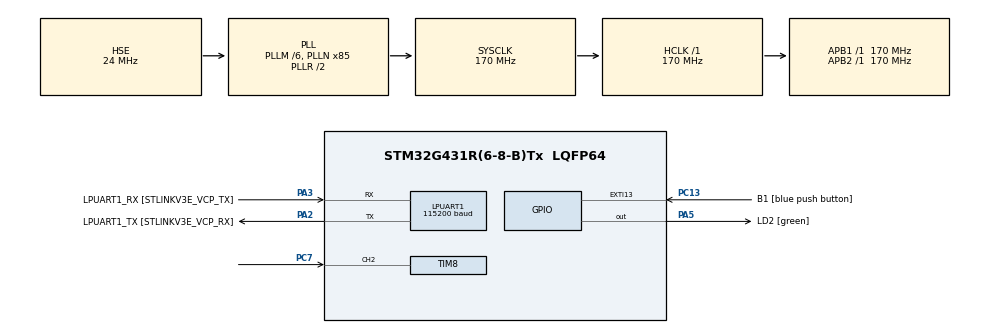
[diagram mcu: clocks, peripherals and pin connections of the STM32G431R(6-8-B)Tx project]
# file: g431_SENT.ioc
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LPUART1.BaudRate=115200
LPUART1.WordLength=UART_WORDLENGTH_8B
Mcu.Family=STM32G4
Mcu.Name=STM32G431R(6-8-B)Tx
Mcu.Package=LQFP64
NVIC.PriorityGroup=NVIC_PRIORITYGROUP_4
NVIC.TIM8_CC_IRQn=true\:0\:0\:false\:false\:true\:true\:true\:true
PA13.GPIO_Label=T_SWDIO
PA13.Mode=Serial_Wire
PA13.Signal=SYS_JTMS-SWDIO
PA14.GPIO_Label=T_SWCLK
PA14.Mode=Serial_Wire
PA14.Signal=SYS_JTCK-SWCLK
PA2.GPIO_Label=LPUART1_TX [STLINKV3E_VCP_RX]
PA2.Mode=Asynchronous
PA2.Signal=LPUART1_TX
PA3.GPIO_Label=LPUART1_RX [STLINKV3E_VCP_TX]
PA3.Mode=Asynchronous
PA3.Signal=LPUART1_RX
PA5.GPIO_Label=LD2 [green]
PA5.Signal=GPIO_Output
PB3.GPIO_Label=T_SWO
PB3.Signal=SYS_JTDO-SWO
PC10.Signal=TIM8_CH1N
PC13.GPIO_Label=B1 [blue push button]
PC13.Signal=GPXTI13
PC14-OSC32_IN.Mode=LSE-External-Oscillator
PC14-OSC32_IN.Signal=RCC_OSC32_IN
PC15-OSC32_OUT.Mode=LSE-External-Oscillator
PC15-OSC32_OUT.Signal=RCC_OSC32_OUT
PC7.Signal=S_TIM8_CH2
PF0-OSC_IN.Mode=HSE-External-Oscillator
PF0-OSC_IN.Signal=RCC_OSC_IN
PF1-OSC_OUT.Mode=HSE-External-Oscillator
PF1-OSC_OUT.Signal=RCC_OSC_OUT
ProjectManager.HeapSize=0x200
ProjectManager.StackSize=0x400
ProjectManager.TargetToolchain=STM32CubeIDE
RCC.ADC12Freq_Value=170000000
RCC.AHBFreq_Value=170000000
RCC.APB1Freq_Value=170000000
RCC.APB1TimFreq_Value=170000000
RCC.APB2Freq_Value=170000000
RCC.APB2TimFreq_Value=170000000
RCC.CortexFreq_Value=170000000
RCC.EXTERNAL_CLOCK_VALUE=12288000
RCC.HCLKFreq_Value=170000000
RCC.HSE_VALUE=24000000
RCC.HSI48_VALUE=48000000
RCC.HSI_VALUE=16000000
RCC.PLLM=RCC_PLLM_DIV6
RCC.PLLN=85
RCC.PLLSourceVirtual=RCC_PLLSOURCE_HSE
RCC.RTCClockSelection=RCC_RTCCLKSOURCE_LSE
RCC.SYSCLKFreq_VALUE=170000000
RCC.SYSCLKSource=RCC_SYSCLKSOURCE_PLLCLK
RCC.USBFreq_Value=170000000
RCC.VCOOutputFreq_Value=340000000
SH.S_TIM8_CH2.0=TIM8_CH2,Input_Capture2_from_TI2
TIM8.Channel-Input_Capture2_from_TI2=TIM_CHANNEL_2
TIM8.ICPolarity_CH2=TIM_INPUTCHANNELPOLARITY_FALLING
TIM8.Prescaler=1
TIM8.TIM_MasterOutputTrigger=TIM_TRGO_RESET
VP_SYS_VS_DBSignals.Mode=DisableDeadBatterySignals
VP_TIM8_VS_ClockSourceINT.Mode=Internal
board=NUCLEO-G431RB

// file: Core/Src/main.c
/* USER CODE BEGIN Header */
/**
  ******************************************************************************
  * @file           : main.c
  * @brief          : Main program body
  ******************************************************************************
  * @attention
  *
  * Copyright (c) 2022 STMicroelectronics.
  * All rights reserved.
  *
  * This software is licensed under terms that can be found in the LICENSE file
  * in the root directory of this software component.
  * If no LICENSE file comes with this software, it is provided AS-IS.
  *
  ******************************************************************************
  */
/* USER CODE END Header */
#include "main.h"

/* USER CODE BEGIN Includes */
#include <stdio.h>
/* USER CODE END Includes */

UART_HandleTypeDef hlpuart1;

TIM_HandleTypeDef htim8;

void SystemClock_Config(void);
static void MX_GPIO_Init(void);
static void MX_LPUART1_UART_Init(void);
static void MX_TIM8_Init(void);
/* USER CODE BEGIN PFP */
uint16_t prev_ccr2 = 0;
uint16_t diff = 0;
uint16_t cnt = 0;
uint16_t ccr2 = 0;

uint16_t diff_buf[1024] = {0};
uint16_t diff_buf_cnt = 0;

/* USER CODE END PFP */

/* USER CODE BEGIN 0 */
int __io_putchar(int ch)
{
  HAL_UART_Transmit(&hlpuart1, (uint8_t *)&ch, 1, 10);
  return ch;
}

void HAL_TIM_IC_CaptureCallback(TIM_HandleTypeDef* htim)
{
	cnt = TIM8->CNT;
	ccr2 = TIM8->CCR2;
//	diff_buf[diff_buf_cnt] = ccr2;
	diff_buf[diff_buf_cnt] = TIM8->CCR2 > prev_ccr2 ? TIM8->CCR2 - prev_ccr2 : TIM8->CCR2 + UINT16_MAX - prev_ccr2;
	if(++diff_buf_cnt >= 1024)
		diff_buf_cnt = 0;

	prev_ccr2 = TIM8->CCR2;
}

/* USER CODE END 0 */

int main(void)
{

  /* MCU Configuration--------------------------------------------------------*/

  /* Reset of all peripherals, Initializes the Flash interface and the Systick. */
  HAL_Init();

  /* Configure the system clock */
  SystemClock_Config();

  /* Initialize all configured peripherals */
  MX_GPIO_Init();
  MX_LPUART1_UART_Init();
  MX_TIM8_Init();
  /* USER CODE BEGIN 2 */
  HAL_TIM_Base_MspInit(&htim8);
  //HAL_TIM_Base_Start_IT(&htim8);
  HAL_TIM_IC_Start_IT(&htim8, TIM_CHANNEL_2);
  printf("hello world\n");

  /* USER CODE END 2 */

  /* Infinite loop */
  /* USER CODE BEGIN WHILE */
  while (1)
  {
//	printf("ccr2: %d\n", ccr2);
	for(int i=0; i<1024; i++) {
		printf("diff[%4d]: %5d %% %3d\n", i, diff_buf[i]/255, diff_buf[i]%255);
	}
	HAL_Delay(200);
    /* USER CODE END WHILE */

  }
}

void SystemClock_Config(void)
{
  RCC_OscInitTypeDef RCC_OscInitStruct = {0};
  RCC_ClkInitTypeDef RCC_ClkInitStruct = {0};

  /** Configure the main internal regulator output voltage
  */
  HAL_PWREx_ControlVoltageScaling(PWR_REGULATOR_VOLTAGE_SCALE1_BOOST);

  /** Initializes the RCC Oscillators according to the specified parameters
  * in the RCC_OscInitTypeDef structure.
  */
  RCC_OscInitStruct.OscillatorType = RCC_OSCILLATORTYPE_HSE;
  RCC_OscInitStruct.HSEState = RCC_HSE_ON;
  RCC_OscInitStruct.PLL.PLLState = RCC_PLL_ON;
  RCC_OscInitStruct.PLL.PLLSource = RCC_PLLSOURCE_HSE;
  RCC_OscInitStruct.PLL.PLLM = RCC_PLLM_DIV6;
  RCC_OscInitStruct.PLL.PLLN = 85;
  RCC_OscInitStruct.PLL.PLLP = RCC_PLLP_DIV2;
  RCC_OscInitStruct.PLL.PLLQ = RCC_PLLQ_DIV2;
  RCC_OscInitStruct.PLL.PLLR = RCC_PLLR_DIV2;
  if (HAL_RCC_OscConfig(&RCC_OscInitStruct) != HAL_OK)
  {
    Error_Handler();
  }

  /** Initializes the CPU, AHB and APB buses clocks
  */
  RCC_ClkInitStruct.ClockType = RCC_CLOCKTYPE_HCLK|RCC_CLOCKTYPE_SYSCLK
                              |RCC_CLOCKTYPE_PCLK1|RCC_CLOCKTYPE_PCLK2;
  RCC_ClkInitStruct.SYSCLKSource = RCC_SYSCLKSOURCE_PLLCLK;
  RCC_ClkInitStruct.AHBCLKDivider = RCC_SYSCLK_DIV1;
  RCC_ClkInitStruct.APB1CLKDivider = RCC_HCLK_DIV1;
  RCC_ClkInitStruct.APB2CLKDivider = RCC_HCLK_DIV1;

  if (HAL_RCC_ClockConfig(&RCC_ClkInitStruct, FLASH_LATENCY_4) != HAL_OK)
  {
    Error_Handler();
  }
}

static void MX_LPUART1_UART_Init(void)
{

  hlpuart1.Instance = LPUART1;
  hlpuart1.Init.BaudRate = 115200;
  hlpuart1.Init.WordLength = UART_WORDLENGTH_8B;
  hlpuart1.Init.StopBits = UART_STOPBITS_1;
  hlpuart1.Init.Parity = UART_PARITY_NONE;
  hlpuart1.Init.Mode = UART_MODE_TX_RX;
  hlpuart1.Init.HwFlowCtl = UART_HWCONTROL_NONE;
  hlpuart1.Init.OneBitSampling = UART_ONE_BIT_SAMPLE_DISABLE;
  hlpuart1.Init.ClockPrescaler = UART_PRESCALER_DIV1;
  hlpuart1.AdvancedInit.AdvFeatureInit = UART_ADVFEATURE_NO_INIT;
  if (HAL_UART_Init(&hlpuart1) != HAL_OK)
  {
    Error_Handler();
  }
  if (HAL_UARTEx_SetTxFifoThreshold(&hlpuart1, UART_TXFIFO_THRESHOLD_1_8) != HAL_OK)
  {
    Error_Handler();
  }
  if (HAL_UARTEx_SetRxFifoThreshold(&hlpuart1, UART_RXFIFO_THRESHOLD_1_8) != HAL_OK)
  {
    Error_Handler();
  }
  if (HAL_UARTEx_DisableFifoMode(&hlpuart1) != HAL_OK)
  {
    Error_Handler();
  }

}

static void MX_TIM8_Init(void)
{

  TIM_ClockConfigTypeDef sClockSourceConfig = {0};
  TIM_MasterConfigTypeDef sMasterConfig = {0};
  TIM_IC_InitTypeDef sConfigIC = {0};

  htim8.Instance = TIM8;
  htim8.Init.Prescaler = 1;
  htim8.Init.CounterMode = TIM_COUNTERMODE_UP;
  htim8.Init.Period = 65535;
  htim8.Init.ClockDivision = TIM_CLOCKDIVISION_DIV1;
  htim8.Init.RepetitionCounter = 0;
  htim8.Init.AutoReloadPreload = TIM_AUTORELOAD_PRELOAD_DISABLE;
  if (HAL_TIM_Base_Init(&htim8) != HAL_OK)
  {
    Error_Handler();
  }
  sClockSourceConfig.ClockSource = TIM_CLOCKSOURCE_INTERNAL;
  if (HAL_TIM_ConfigClockSource(&htim8, &sClockSourceConfig) != HAL_OK)
  {
    Error_Handler();
  }
  if (HAL_TIM_IC_Init(&htim8) != HAL_OK)
  {
    Error_Handler();
  }
  sMasterConfig.MasterOutputTrigger = TIM_TRGO_RESET;
  sMasterConfig.MasterOutputTrigger2 = TIM_TRGO2_RESET;
  sMasterConfig.MasterSlaveMode = TIM_MASTERSLAVEMODE_DISABLE;
  if (HAL_TIMEx_MasterConfigSynchronization(&htim8, &sMasterConfig) != HAL_OK)
  {
    Error_Handler();
  }
  sConfigIC.ICPolarity = TIM_INPUTCHANNELPOLARITY_FALLING;
  sConfigIC.ICSelection = TIM_ICSELECTION_DIRECTTI;
  sConfigIC.ICPrescaler = TIM_ICPSC_DIV1;
  sConfigIC.ICFilter = 0;
  if (HAL_TIM_IC_ConfigChannel(&htim8, &sConfigIC, TIM_CHANNEL_2) != HAL_OK)
  {
    Error_Handler();
  }

}

static void MX_GPIO_Init(void)
{
  GPIO_InitTypeDef GPIO_InitStruct = {0};

  /* GPIO Ports Clock Enable */
  __HAL_RCC_GPIOC_CLK_ENABLE();
  __HAL_RCC_GPIOF_CLK_ENABLE();
  __HAL_RCC_GPIOA_CLK_ENABLE();
  __HAL_RCC_GPIOB_CLK_ENABLE();

  /*Configure GPIO pin Output Level */
  HAL_GPIO_WritePin(LD2_GPIO_Port, LD2_Pin, GPIO_PIN_RESET);

  /*Configure GPIO pin : B1_Pin */
  GPIO_InitStruct.Pin = B1_Pin;
  GPIO_InitStruct.Mode = GPIO_MODE_IT_RISING;
  GPIO_InitStruct.Pull = GPIO_NOPULL;
  HAL_GPIO_Init(B1_GPIO_Port, &GPIO_InitStruct);

  /*Configure GPIO pin : LD2_Pin */
  GPIO_InitStruct.Pin = LD2_Pin;
  GPIO_InitStruct.Mode = GPIO_MODE_OUTPUT_PP;
  GPIO_InitStruct.Pull = GPIO_NOPULL;
  GPIO_InitStruct.Speed = GPIO_SPEED_FREQ_LOW;
  HAL_GPIO_Init(LD2_GPIO_Port, &GPIO_InitStruct);

}

void Error_Handler(void)
{
  __disable_irq();
  while (1)
  {
  }
}
